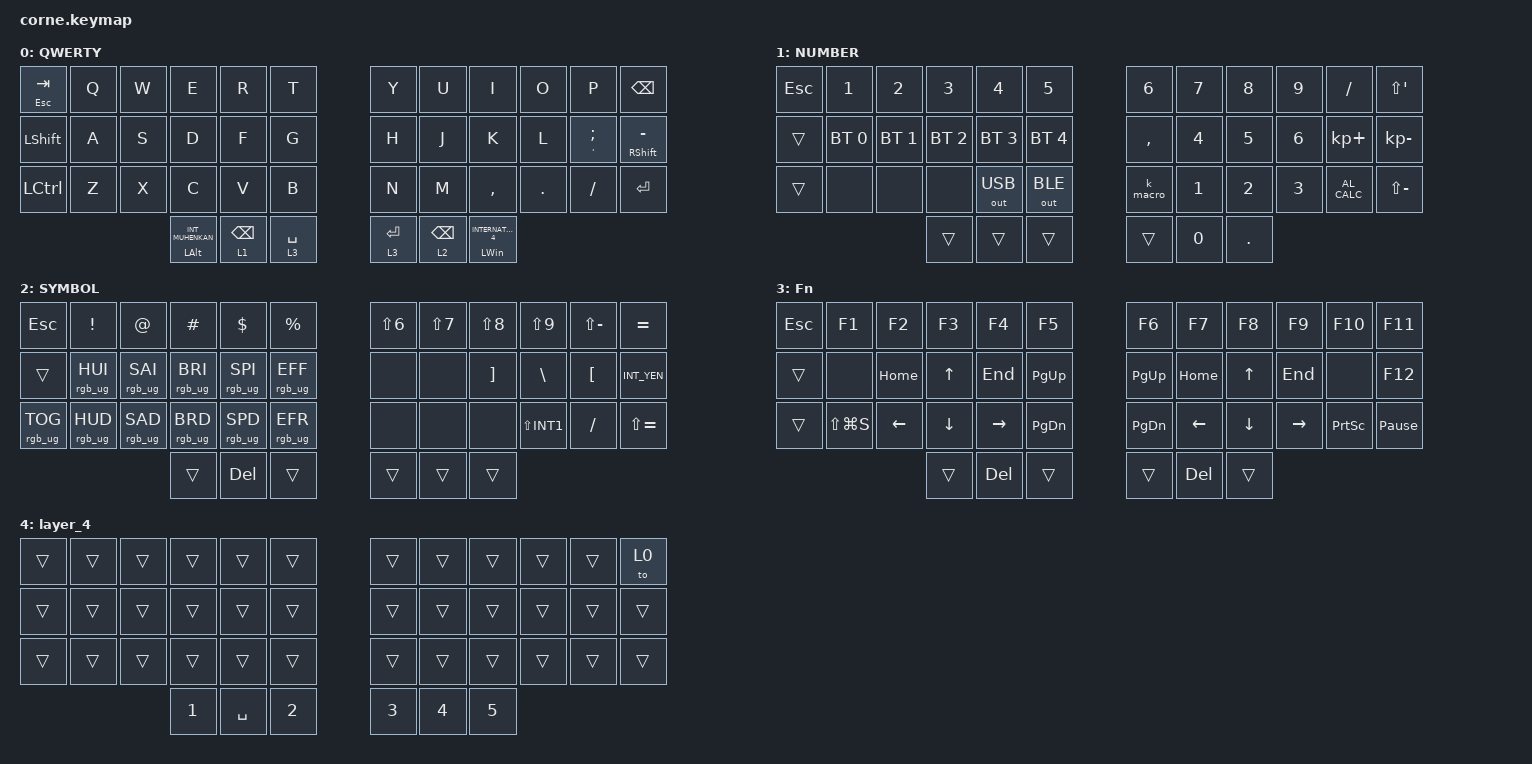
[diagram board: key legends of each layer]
/*
 * Copyright (c) 2020 The ZMK Contributors
 *
 * SPDX-License-Identifier: MIT
 */
// #include <dt-bindings/zmk/pointing.h>

#include <behaviors.dtsi>
#include <dt-bindings/zmk/bt.h>
#include <dt-bindings/zmk/keys.h>
#include <dt-bindings/zmk/outputs.h>
#include <dt-bindings/zmk/rgb.h>

/ {
    chosen {
        zmk,matrix_transform = &default_transform;

        // zmk,matrix_transform = &five_column_transform;
    };
};

/ {
    behaviors {
        td0: td0 {
            compatible = "zmk,behavior-tap-dance";
            label = "TD0";
            #binding-cells = <0>;
            bindings = <&kp LEFT_SHIFT>, <&kp CAPS>;
        };
    };

    macros {
        k_macro: new_macro {
            compatible = "zmk,behavior-macro";
            #binding-cells = <0>;
            bindings = <&kp N0 &kp N0 &kp N0>;
            label = "NEW_MACRO";
        };
    };

    combos {
        compatible = "zmk,combos";

        BT_CLR_ {
            bindings = <&bt BT_CLR>;
            key-positions = <5 27 29>;
            layers = <3>;
            timeout-ms = <100>;
            require-prior-idle-ms = <100>;
        };

        game {
            bindings = <&to 4>;
            key-positions = <13 15 14>;
            layers = <1>;
        };
    };

    keymap {
        compatible = "zmk,keymap";

        default_layer {
            display-name = "QWERTY";

            // --------------------------------------------------------------------------------
            // |  TAB |  Q  |  W  |  E  |  R  |  T  |   |  Y  |  U   |  I  |  O  |  P  | BKSP |
            // | CTRL |  A  |  S  |  D  |  F  |  G  |   |  H  |  J   |  K  |  L  |  ;  |  '   | 
            // | SHFT |  Z  |  X  |  C  |  V  |  B  |   |  N  |  M   |  ,  |  .  |  /  | ESC  |
            //                    | GUI | LWR | SPC |   | ENT | RSE  | ALT |

            bindings = <
&mt ESC TAB     &kp Q  &kp W  &kp E                      &kp R            &kp T          &kp Y        &kp U            &kp I                         &kp O    &kp P         &kp BACKSPACE
&kp LEFT_SHIFT  &kp A  &kp S  &kp D                      &kp F            &kp G          &kp H        &kp J            &kp K                         &kp L    &mt SQT SEMI  &mt RIGHT_SHIFT MINUS
&kp LCTRL       &kp Z  &kp X  &kp C                      &kp V            &kp B          &kp N        &kp M            &kp COMMA                     &kp DOT  &kp FSLH      &kp ENTER
                              &mt LEFT_ALT INT_MUHENKAN  &lt 1 BACKSPACE  &lt 3 SPACE    &lt 3 ENTER  &lt 2 BACKSPACE  &mt LEFT_WIN INTERNATIONAL_4
            >;
        };

        lower_layer {
            display-name = "NUMBER";

            // -----------------------------------------------------------------------------------------
            // |  TAB |  1  |  2  |  3  |  4  |  5  |   |  6  |  7  |  8  |  9  |  0  | BKSP |
            // | BTCLR| BT1 | BT2 | BT3 | BT4 | BT5 |   | LFT | DWN |  UP | RGT |     |      |
            // | SHFT |     |     |     |     |     |   |     |     |     |     |     |      |
            //                    | GUI |     | SPC |   | ENT |     | ALT |

            bindings = <
&kp ESCAPE  &kp N1        &kp N2        &kp N3        &kp N4        &kp N5          &kp N6     &kp N7  &kp N8   &kp N9  &kp SLASH      &kp LS(SQT)
&trans      &bt BT_SEL 0  &bt BT_SEL 1  &bt BT_SEL 2  &bt BT_SEL 3  &bt BT_SEL 4    &kp COMMA  &kp N4  &kp N5   &kp N6  &kp KP_PLUS    &kp KP_MINUS
&trans      &none         &none         &none         &out OUT_USB  &out OUT_BLE    &k_macro   &kp N1  &kp N2   &kp N3  &kp C_AL_CALC  &kp LS(MINUS)
                                        &trans        &trans        &trans          &trans     &kp N0  &kp DOT
            >;
        };

        raise_layer {
            display-name = "SYMBOL";

            // -----------------------------------------------------------------------------------------
            // |  TAB |  !  |  @  |  #  |  $  |  %  |   |  ^  |  &  |  *  |  (  |  )  | BKSP |
            // | CTRL |     |     |     |     |     |   |  -  |  =  |  [  |  ]  |  \  |  `   |
            // | SHFT |     |     |     |     |     |   |  _  |  +  |  {  |  }  | "|" |  ~   |
            //                    | GUI |     | SPC |   | ENT |     | ALT |

            bindings = <
&kp ESCAPE       &kp EXCL         &kp AT           &kp HASH         &kp DOLLAR       &kp PRCNT          &kp LS(N6)  &kp LS(N7)  &kp LS(N8)         &kp LS(N9)     &kp LS(MINUS)     &kp EQUAL
&trans           &rgb_ug RGB_HUI  &rgb_ug RGB_SAI  &rgb_ug RGB_BRI  &rgb_ug RGB_SPI  &rgb_ug RGB_EFF    &none       &none       &kp RIGHT_BRACKET  &kp BACKSLASH  &kp LEFT_BRACKET  &kp INT_YEN
&rgb_ug RGB_TOG  &rgb_ug RGB_HUD  &rgb_ug RGB_SAD  &rgb_ug RGB_BRD  &rgb_ug RGB_SPD  &rgb_ug RGB_EFR    &none       &none       &none              &kp LS(INT1)   &kp SLASH         &kp LS(EQUAL)
                                                   &trans           &kp DELETE       &trans             &trans      &trans      &trans
            >;
        };

        layer_3 {
            display-name = "Fn";
            bindings = <
&kp ESCAPE  &kp F1         &kp F2          &kp F3          &kp F4           &kp F5           &kp F6         &kp F7          &kp F8          &kp F9           &kp F10          &kp F11
&trans      &none          &kp HOME        &kp UP_ARROW    &kp END          &kp PAGE_UP      &kp PG_UP      &kp HOME        &kp UP_ARROW    &kp END          &none            &kp F12
&trans      &kp LS(LG(S))  &kp LEFT_ARROW  &kp DOWN_ARROW  &kp RIGHT_ARROW  &kp PAGE_DOWN    &kp PAGE_DOWN  &kp LEFT_ARROW  &kp DOWN_ARROW  &kp RIGHT_ARROW  &kp PRINTSCREEN  &kp PAUSE_BREAK
                                           &trans          &kp DELETE       &trans           &trans         &kp DELETE      &trans
            >;
        };

        layer_4 {
            bindings = <
&trans  &trans  &trans  &trans        &trans     &trans          &trans        &trans        &trans  &trans  &trans  &to 0
&trans  &trans  &trans  &trans        &trans     &trans          &trans        &trans        &trans  &trans  &trans  &trans
&trans  &trans  &trans  &trans        &trans     &trans          &trans        &trans        &trans  &trans  &trans  &trans
                        &kp NUMBER_1  &kp SPACE  &kp NUMBER_2    &kp NUMBER_3  &kp NUMBER_4  &kp N5
            >;
        };
    };
};
